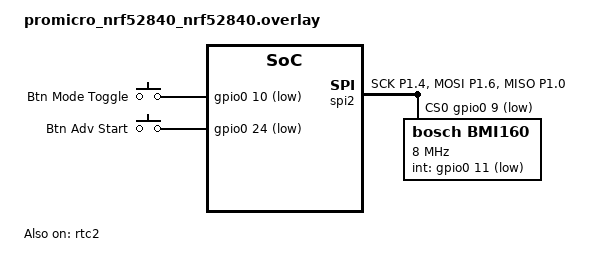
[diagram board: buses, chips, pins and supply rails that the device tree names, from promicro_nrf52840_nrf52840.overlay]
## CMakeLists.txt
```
# SPDX-License-Identifier: Apache-2.0

cmake_minimum_required(VERSION 3.20.0)
find_package(Zephyr REQUIRED HINTS $ENV{ZEPHYR_BASE})
project(csc_peripheral)

target_sources(app PRIVATE 
src/main.c
src/drivers/accel.c
src/drivers/csc_ble.c
src/app/csc_sensor.c
)
target_include_directories(app PRIVATE 
include
)
```

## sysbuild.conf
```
# enable MCUboot
SB_CONFIG_PARTITION_MANAGER=n
SB_CONFIG_BOOTLOADER_MCUBOOT=y
```

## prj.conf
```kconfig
#enable GPIO peripheral
CONFIG_GPIO=y

# enable timer
CONFIG_NRFX_TIMER=y
CONFIG_RTC=y
CONFIG_SYS_CLOCK_EXISTS=y
CONFIG_NRF_RTC_TIMER=y
CONFIG_COUNTER=y

#enable I2C
CONFIG_SPI=y
CONFIG_SENSOR=y
CONFIG_BMI160=y
CONFIG_BMI160_ACCEL_ODR_50=y
CONFIG_BMI160_ACCEL_RANGE_4G=y
CONFIG_BMI160_ACCEL_PMU_LOW_POWER=y
CONFIG_BMI160_TRIGGER_GLOBAL_THREAD=y
CONFIG_BMI160_GYRO_PMU_SUSPEND=y

CONFIG_BT_RX_STACK_SIZE=2048

# enable UART/CONSOLE
CONFIG_SERIAL=y
CONFIG_CONSOLE=y
CONFIG_UART_CONSOLE=y
CONFIG_LOG=y
CONFIG_LOG_DEFAULT_LEVEL=1

# enable BT
CONFIG_BT=y
CONFIG_BT_PERIPHERAL=y
CONFIG_BT_DEVICE_NAME="CSC Sensor"
CONFIG_BT_DEVICE_APPEARANCE=1157
CONFIG_BT_MAX_CONN=2

# BLE FOTA
CONFIG_NCS_SAMPLE_MCUMGR_BT_OTA_DFU=y
CONFIG_MCUMGR_TRANSPORT_BT_PERM_RW_AUTHEN=y
```

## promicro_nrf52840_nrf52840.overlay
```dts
&spi2 {
	compatible = "nordic,nrf-spim";
	status = "okay";
	pinctrl-0 = <&spi2_default>;
	pinctrl-1 = <&spi2_sleep>;
	pinctrl-names = "default", "sleep";

	cs-gpios = <&gpio0 9 GPIO_ACTIVE_LOW>;
	bmi160: bmi160@0 {
		compatible = "bosch,bmi160";
		status = "okay";
		reg = <0>;
		spi-max-frequency = <8000000>;
		int-gpios = <&gpio0 11 (GPIO_PULL_UP | GPIO_ACTIVE_LOW)>;
	};
};

&pinctrl {
	spi2_default: spi2_default {
		group1 {
			psels = <NRF_PSEL(SPIM_SCK, 1, 4)>,
			<NRF_PSEL(SPIM_MOSI,1, 6)>,
			<NRF_PSEL(SPIM_MISO, 1, 0)>;
		};
	};
	spi2_sleep: spi2_sleep {
		group1 {
			psels = <NRF_PSEL(SPIM_SCK, 1, 4)>,
			<NRF_PSEL(SPIM_MOSI,1, 6)>,
			<NRF_PSEL(SPIM_MISO, 1, 0)>;
			low-power-enable;
		};
	};
};

&rtc2 {
	status = "okay";
};

&gpio0 {
	sense-edge-mask = <((1 << 10) | (1 << 11) | (1 << 24))>;
};

/ {
	buttons {
		compatible = "gpio-keys";
		btn_mode: btn_1 {
			gpios = <&gpio0 10 (GPIO_PULL_UP | GPIO_ACTIVE_LOW)>;
			label = "Btn Mode Toggle";
		};
		btn_adv: btn_2 {
			gpios = <&gpio0 24 (GPIO_PULL_UP | GPIO_ACTIVE_LOW)>;
			label = "Btn Adv Start";
		};
	};

	chosen {
		zephyr,console = &uart0;
	};
};
```

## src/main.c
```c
/*
 * Copyright (c) 2016 Intel Corporation
 *
 * SPDX-License-Identifier: Apache-2.0
 */

#include <stdio.h>
#include <zephyr/kernel.h>
#include <zephyr/logging/log.h>
#include "../include/app/csc_sensor.h"
#include <zephyr/drivers/gpio.h>

LOG_MODULE_REGISTER(main_mod, LOG_LEVEL_DBG);

/* 1000 msec = 1 sec */
#define SLEEP_TIME_MS   1000
#define PIN 9
#define GPIO0_NODE DT_NODELABEL(gpio0)

/* The devicetree node identifier for the "led0" alias. */
#define LED0_NODE DT_ALIAS(led0)
static const struct device *gpio_dev = DEVICE_DT_GET(GPIO0_NODE);

/*
 * A build error on this line means your board is unsupported.
 * See the sample documentation for information on how to fix this.
 */
static const struct gpio_dt_spec led = GPIO_DT_SPEC_GET(LED0_NODE, gpios);

int main(void)
{
	int ret;
	ret = csc_sens_init();

	while (1) {
		k_sleep(K_MSEC(0xFFFF));
	}

	if (ret) {
		LOG_ERR("FAILED TO INTIIALIZE CSC SENSOR\n\r");
		for (;;);	
	}
}
```
